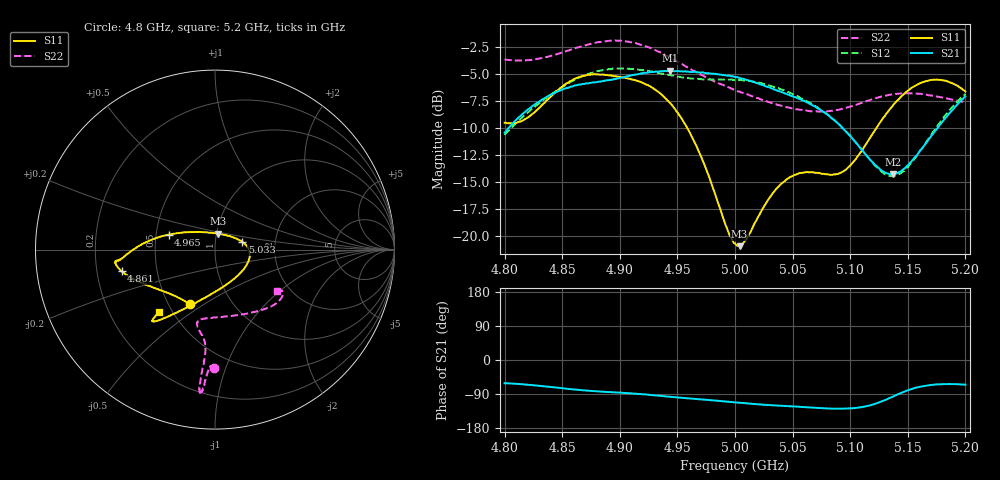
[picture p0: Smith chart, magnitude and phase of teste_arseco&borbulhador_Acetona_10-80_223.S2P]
! Network Analyzer HP8722D
! Hewlett-Packard
! Data name: Linha & Wilkinson
! Saver's name: Rodrigo Anjos
! Comments: Teste da utilização de aquisição
! continua pelo VNA HP8722D
! Time and date: 17/4/2025 16:13
!  Frequency  S11  S21  S12  S22
# HZ  S  MA R 50
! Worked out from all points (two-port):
!   401 points, 4.8 GHz to 5.2 GHz, reference 50 ohm
!   highest |S21| = -4.70 dB at 4.944 GHz (marker M1); lowest = -14.3 dB at 5.137 GHz (marker M2)
!   |S21| within 3 dB of the highest: 4.828 GHz to 5.064 GHz (236.4 MHz wide, 4.78 % of centre); 5.194046 GHz to end of sweep
!   lowest |S11| = -20.9 dB at 5.004 GHz (marker M3), VSWR 1.20, Z = 51 + j9.04 ohm
!   |S11| at or under -10 dB: 4.959 GHz to 5.123 GHz (164.1 MHz wide, 3.26 % of centre)
!   |S22| runs from -8.5 to -1.9 dB; largest |S21 - S12| = 0.87
!   S11 on the Smith chart (normalised r, x): 4.8 GHz: 0.64, -0.44; 4.861 GHz: 0.31, -0.10; 4.965 GHz: 0.58, +0.10; 5.033 GHz: 1.35, +0.12; 5.2 GHz: 0.43, -0.38
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4.8e9  0.3348 -114.9  0.3008 -61.3  0.2939 -175.5  0.6573 -90.6
4.819e9  0.3504 -135.0  0.3798 -64.9  0.3683 -174.5  0.6518 -92.0
4.861e9  0.5346 -167.0  0.4976 -77.9  0.5293 -177.8  0.7387 -94.3
4.867e9  0.5486 -169.3  0.505 -79.7  0.5475 -178.9  0.7568 -94.5
4.899e9  0.546 -173.6  0.5373 -86.0  0.5953 174.7  0.8015 -95.8
4.934e9  0.4625 -179.4  0.576 -94.4  0.5702 171.3  0.7112 -96.2
4.944e9  0.4111 176.0  0.5821 -97.1  0.554 171.3  0.669 -96.0
4.965e9  0.2716 162.1  0.5774 -102.8  0.534 173.1  0.5784 -95.4
4.993e9  0.1088 117.5  0.5526 -109.8  0.5298 175.3  0.4903 -97.9
5e9  0.09233 93.5  0.5447 -111.8  0.5291 175.5  0.4737 -99.4
5.004e9  0.08974 78.5  0.5397 -112.8  0.5259 175.5  0.4666 -100.2
5.033e9  0.1585 16.0  0.4806 -119.4  0.4911 174.1  0.4104 -103.4
5.049e9  0.1886 0.2  0.4441 -122.3  0.4568 173.6  0.3902 -99.4
5.067e9  0.1972 -19.1  0.4037 -125.5  0.4079 173.2  0.378 -89.8
5.096e9  0.2023 -69.5  0.3058 -128.4  0.3067 174.7  0.3913 -67.1
5.121e9  0.3055 -108.5  0.2149 -116.4  0.2138 -171.3  0.4327 -49.8
5.134e9  0.3835 -118.9  0.1936 -100.7  0.1897 -153.9  0.4505 -43.2
5.137e9  0.4011 -120.5  0.1929 -96.7  0.1893 -149.1  0.4531 -41.9
5.149e9  0.4658 -125.7  0.21 -81.0  0.2065 -131.2  0.4578 -37.4
5.17e9  0.5272 -130.6  0.2884 -65.9  0.2928 -112.2  0.4476 -32.5
5.184e9  0.5208 -131.7  0.3597 -63.5  0.3699 -107.7  0.4334 -31.5
5.2e9  0.4658 -131.8  0.4428 -65.3  0.4543 -107.4  0.4156 -33.9
